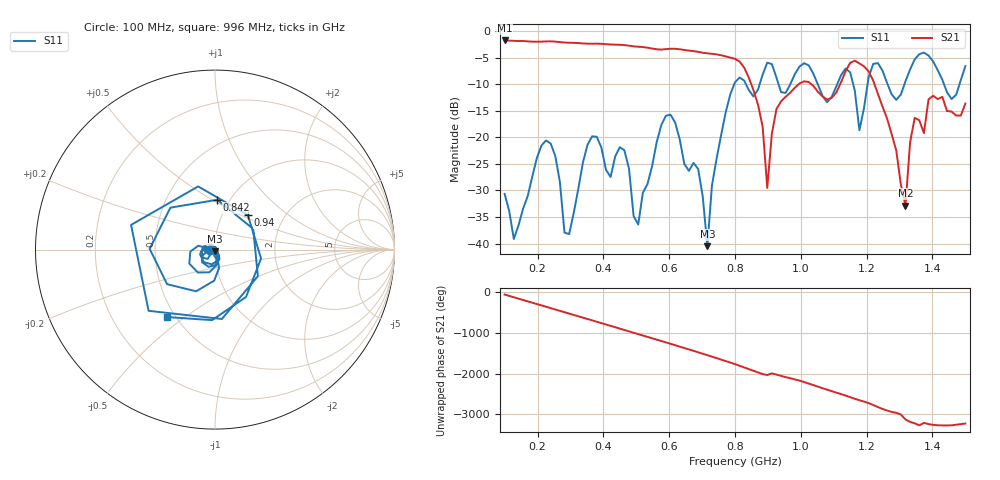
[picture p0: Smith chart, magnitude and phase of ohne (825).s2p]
! NanoVNA-App
! Date: 2025-09-25 14:27:13
! Start: 100MHz Stop: 1,5GHz Points: 101
! S-Parameter data: F S11 S21 S12 S22
# Hz S RI R 50
!  Frequency  S11_Real  S11_Imag  S21_Real  S21_Imag  S12_Real  S12_Imag  S22_Real  S22_Imag
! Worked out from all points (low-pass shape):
!   101 points, 100 MHz to 1.5 GHz, reference 50 ohm
!   highest |S21| = -1.79 dB at 100 MHz (marker M1); lowest = -32.8 dB at 1.318 GHz (marker M2)
!   |S21| within 3 dB of the highest: start of sweep to 772 MHz
!   lowest |S11| = -40.5 dB at 716 MHz (marker M3), VSWR 1.02, Z = 49.7 - j0.902 ohm
!   |S11| at or under -10 dB: start of sweep to 797.8 MHz; 833.2 MHz to 875.1 MHz (41.91 MHz wide, 4.91 % of centre); 1.051 GHz to 1.111 GHz (59.45 MHz wide, 5.5 % of centre) (the widest 3 of 7)
!   S12 and S22 are empty: the file has one direction only
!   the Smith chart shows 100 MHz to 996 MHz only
!   S11 on the Smith chart (normalised r, x): 100 MHz: 0.94, -0.01; 842 MHz: 0.88, +0.53; 940 MHz: 1.32, +0.55; 996 MHz: 0.45, -0.43
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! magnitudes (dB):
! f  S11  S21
! 100 MHz  -30.6  -1.8
! 128 MHz  -39.1  -1.9
! 226 MHz  -20.6  -2.0
! 296 MHz  -38.2  -2.2
! 338 MHz  -24.7  -2.4
! 464 MHz  -22.5  -2.7
! 506 MHz  -36.4  -3.0
! 576 MHz  -17.7  -3.5
! 688 MHz  -26.0  -3.9
! 716 MHz  -40.5  -4.2
! 800 MHz  -9.7  -5.2
! 842 MHz  -11.1  -8.8
! 898 MHz  -6.0  -29.5
! 940 MHz  -11.5  -13.2
! 996 MHz  -6.7  -9.9
! 1.038 GHz  -8.0  -10.3
! 1.178 GHz  -18.7  -6.1
! 1.22 GHz  -6.2  -9.4
! 1.276 GHz  -11.9  -19.4
! 1.318 GHz  -9.5  -32.8
! 1.346 GHz  -5.4  -16.3
! 1.5 GHz  -6.6  -13.7
